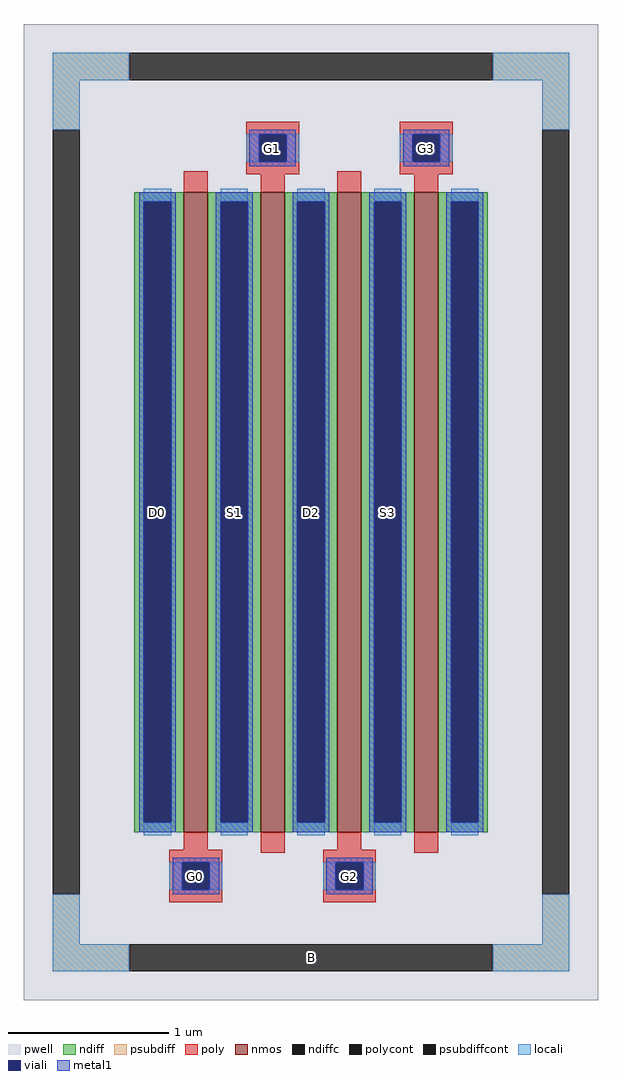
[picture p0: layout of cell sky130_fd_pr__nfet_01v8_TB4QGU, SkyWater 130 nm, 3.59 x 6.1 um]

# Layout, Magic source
magic
tech sky130A
magscale 1 2
<< pwell >>
rect -359 -610 359 610
<< nmos >>
rect -159 -400 -129 400
rect -63 -400 -33 400
rect 33 -400 63 400
rect 129 -400 159 400
<< ndiff >>
rect -221 388 -159 400
rect -221 -388 -209 388
rect -175 -388 -159 388
rect -221 -400 -159 -388
rect -129 388 -63 400
rect -129 -388 -113 388
rect -79 -388 -63 388
rect -129 -400 -63 -388
rect -33 388 33 400
rect -33 -388 -17 388
rect 17 -388 33 388
rect -33 -400 33 -388
rect 63 388 129 400
rect 63 -388 79 388
rect 113 -388 129 388
rect 63 -400 129 -388
rect 159 388 221 400
rect 159 -388 175 388
rect 209 -388 221 388
rect 159 -400 221 -388
<< ndiffc >>
rect -209 -388 -175 388
rect -113 -388 -79 388
rect -17 -388 17 388
rect 79 -388 113 388
rect 175 -388 209 388
<< psubdiff >>
rect -323 540 -227 574
rect 227 540 323 574
rect -323 478 -289 540
rect 289 478 323 540
rect -323 -540 -289 -478
rect 289 -540 323 -478
rect -323 -574 -227 -540
rect 227 -574 323 -540
<< psubdiffcont >>
rect -227 540 227 574
rect -323 -478 -289 478
rect 289 -478 323 478
rect -227 -574 227 -540
<< poly >>
rect -81 472 -15 488
rect -81 438 -65 472
rect -31 438 -15 472
rect -159 400 -129 426
rect -81 422 -15 438
rect 111 472 177 488
rect 111 438 127 472
rect 161 438 177 472
rect -63 400 -33 422
rect 33 400 63 426
rect 111 422 177 438
rect 129 400 159 422
rect -159 -422 -129 -400
rect -177 -438 -111 -422
rect -63 -426 -33 -400
rect 33 -422 63 -400
rect -177 -472 -161 -438
rect -127 -472 -111 -438
rect -177 -488 -111 -472
rect 15 -438 81 -422
rect 129 -426 159 -400
rect 15 -472 31 -438
rect 65 -472 81 -438
rect 15 -488 81 -472
<< polycont >>
rect -65 438 -31 472
rect 127 438 161 472
rect -161 -472 -127 -438
rect 31 -472 65 -438
<< locali >>
rect -323 540 -227 574
rect 227 540 323 574
rect -323 478 -289 540
rect 289 478 323 540
rect -81 438 -65 472
rect -31 438 -15 472
rect 111 438 127 472
rect 161 438 177 472
rect -209 388 -175 404
rect -209 -404 -175 -388
rect -113 388 -79 404
rect -113 -404 -79 -388
rect -17 388 17 404
rect -17 -404 17 -388
rect 79 388 113 404
rect 79 -404 113 -388
rect 175 388 209 404
rect 175 -404 209 -388
rect -177 -472 -161 -438
rect -127 -472 -111 -438
rect 15 -472 31 -438
rect 65 -472 81 -438
rect -323 -540 -289 -478
rect 289 -540 323 -478
rect -323 -574 -227 -540
rect 227 -574 323 -540
<< viali >>
rect -65 438 -31 472
rect 127 438 161 472
rect -209 -388 -175 388
rect -113 -388 -79 388
rect -17 -388 17 388
rect 79 -388 113 388
rect 175 -388 209 388
rect -161 -472 -127 -438
rect 31 -472 65 -438
<< metal1 >>
rect -77 472 -19 478
rect -77 438 -65 472
rect -31 438 -19 472
rect -77 432 -19 438
rect 115 472 173 478
rect 115 438 127 472
rect 161 438 173 472
rect 115 432 173 438
rect -215 388 -169 400
rect -215 -388 -209 388
rect -175 -388 -169 388
rect -215 -400 -169 -388
rect -119 388 -73 400
rect -119 -388 -113 388
rect -79 -388 -73 388
rect -119 -400 -73 -388
rect -23 388 23 400
rect -23 -388 -17 388
rect 17 -388 23 388
rect -23 -400 23 -388
rect 73 388 119 400
rect 73 -388 79 388
rect 113 -388 119 388
rect 73 -400 119 -388
rect 169 388 215 400
rect 169 -388 175 388
rect 209 -388 215 388
rect 169 -400 215 -388
rect -173 -438 -115 -432
rect -173 -472 -161 -438
rect -127 -472 -115 -438
rect -173 -478 -115 -472
rect 19 -438 77 -432
rect 19 -472 31 -438
rect 65 -472 77 -438
rect 19 -478 77 -472
<< labels >>
rlabel psubdiffcont 0 -557 0 -557 0 B
port 1 nsew
rlabel ndiffc -192 0 -192 0 0 D0
port 2 nsew
rlabel polycont -144 -455 -144 -455 0 G0
port 3 nsew
rlabel ndiffc -96 0 -96 0 0 S1
port 4 nsew
rlabel polycont -48 455 -48 455 0 G1
port 5 nsew
rlabel ndiffc 0 0 0 0 0 D2
port 6 nsew
rlabel polycont 48 -455 48 -455 0 G2
port 7 nsew
rlabel ndiffc 96 0 96 0 0 S3
port 8 nsew
rlabel polycont 144 455 144 455 0 G3
port 9 nsew
<< properties >>
string FIXED_BBOX -306 -557 306 557
string gencell sky130_fd_pr__nfet_01v8
string library sky130
string parameters w 4.0 l 0.15 m 1 nf 4 diffcov 100 polycov 100 guard 1 glc 1 grc 1 gtc 1 gbc 1 tbcov 100 rlcov 100 topc 1 botc 1 poverlap 0 doverlap 1 lmin 0.15 wmin 0.42 class mosfet compatible {sky130_fd_pr__nfet_01v8 sky130_fd_pr__nfet_01v8_lvt  sky130_fd_bs_flash__special_sonosfet_star  sky130_fd_pr__nfet_g5v0d10v5 sky130_fd_pr__nfet_05v0_nvt  sky130_fd_pr__nfet_03v3_nvt} full_metal 1 conn_gates 0 viasrc 100 viadrn 100 viagate 100 viagb 0 viagr 0 viagl 0 viagt 0 doports 1
<< end >>
